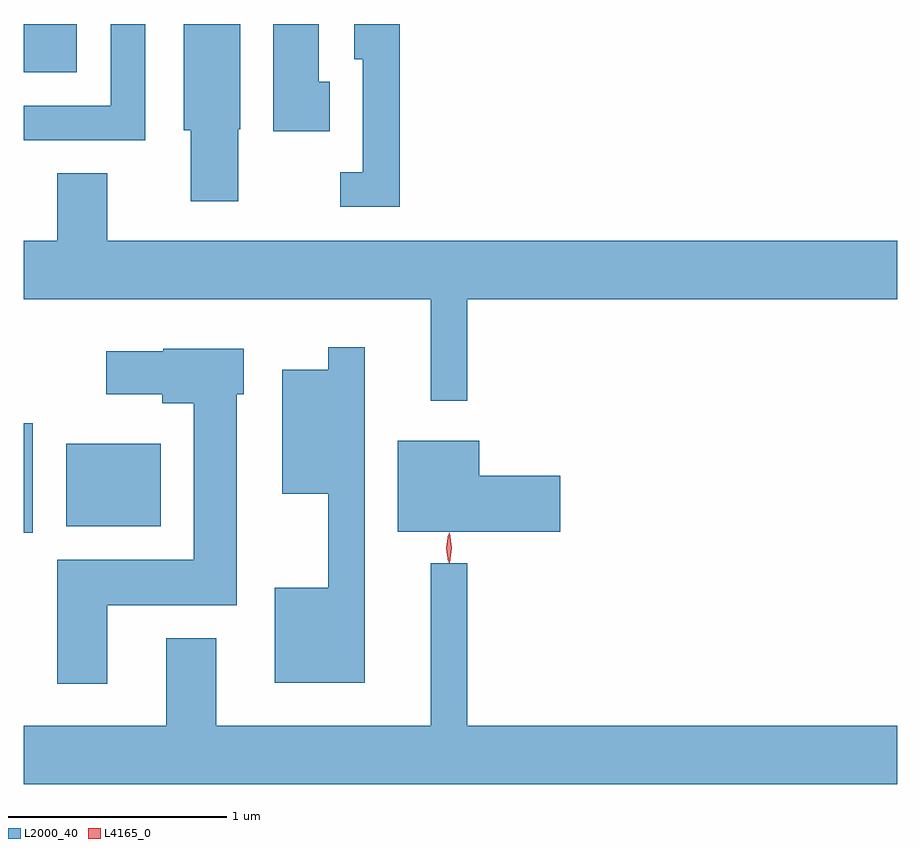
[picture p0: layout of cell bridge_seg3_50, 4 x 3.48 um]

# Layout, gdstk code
import gdstk
lib = gdstk.Library(unit=1e-6, precision=1e-09)
def R(c, l, rs):  # rectangles x0, y0, x1, y1
    for r in rs: c.add(gdstk.rectangle(r[:2], r[2:], *l))
def P(c, l, *ps):  # polygons
    for p in ps: c.add(gdstk.Polygon(p, *l))
L2000_40 = (2000, 40)
L4165_0 = (4165, 0)

bridge_seg3_50 = lib.new_cell('bridge_seg3_50')
R(bridge_seg3_50, L2000_40, [(1158.018,1133.826,1158.059,1134.329), (1158.211,1133.856,1158.644,1134.234), (1158.018,1135.936,1158.259,1136.158)])
P(bridge_seg3_50, L2000_40, [(1158.574,1136.158),(1158.416,1136.158),(1158.416,1135.784),(1158.018,1135.784),(1158.018,1135.626),(1158.574,1135.626)],
  [(1158.999,1135.675),(1159.009,1135.675),(1159.009,1136.158),(1158.751,1136.158),(1158.751,1135.671),(1158.781,1135.671),(1158.781,1135.346),(1158.999,1135.346)],
  [(1159.739,1136.158),(1159.531,1136.158),(1159.531,1135.996),(1159.571,1135.996),(1159.571,1135.479),(1159.468,1135.479),(1159.468,1135.321),(1159.739,1135.321)],
  [(1159.419,1135.894),(1159.369,1135.894),(1159.369,1136.158),(1159.161,1136.158),(1159.161,1135.666),(1159.419,1135.666)],
  [(1160.049,1134.896),(1162.018,1134.896),(1162.018,1135.164),(1158.399,1135.164),(1158.399,1135.474),(1158.171,1135.474),(1158.171,1135.164),(1158.018,1135.164),(1158.018,1134.896),(1159.881,1134.896),(1159.881,1134.433),(1160.049,1134.433)],
  [(1159.579,1134.678),(1159.411,1134.678),(1159.411,1134.574),(1159.201,1134.574),(1159.201,1134.006),(1159.411,1134.006),(1159.411,1133.574),(1159.166,1133.574),(1159.166,1133.141),(1159.579,1133.141)],
  [(1158.399,1133.496),(1158.994,1133.496),(1158.994,1134.461),(1159.024,1134.461),(1159.024,1134.669),(1158.655,1134.669),(1158.655,1134.659),(1158.396,1134.659),(1158.396,1134.461),(1158.651,1134.461),(1158.651,1134.421),(1158.796,1134.421),(1158.796,1133.704),(1158.171,1133.704),(1158.171,1133.136),(1158.399,1133.136)],
  [(1160.474,1134.089),(1160.104,1134.089),(1160.104,1134.249),(1159.731,1134.249),(1159.731,1133.831),(1160.474,1133.831)],
  [(1162.018,1132.944),(1160.049,1132.944),(1160.049,1133.688),(1159.881,1133.688),(1159.881,1132.944),(1158.899,1132.944),(1158.899,1133.344),(1158.671,1133.344),(1158.671,1132.944),(1158.018,1132.944),(1158.018,1132.676),(1162.018,1132.676)])
P(bridge_seg3_50, L4165_0, [(1159.967,1133.69),(1159.958,1133.758),(1159.967,1133.825),(1159.967,1133.826),(1159.968,1133.825),(1159.977,1133.758),(1159.968,1133.69),(1159.968,1133.69)],
  [(1159.963,1133.693),(1159.962,1133.694),(1159.952,1133.756),(1159.962,1133.82),(1159.962,1133.82),(1159.963,1133.82),(1159.972,1133.756),(1159.963,1133.694)])

lib.write_gds('bridge_seg3_50.gds')
